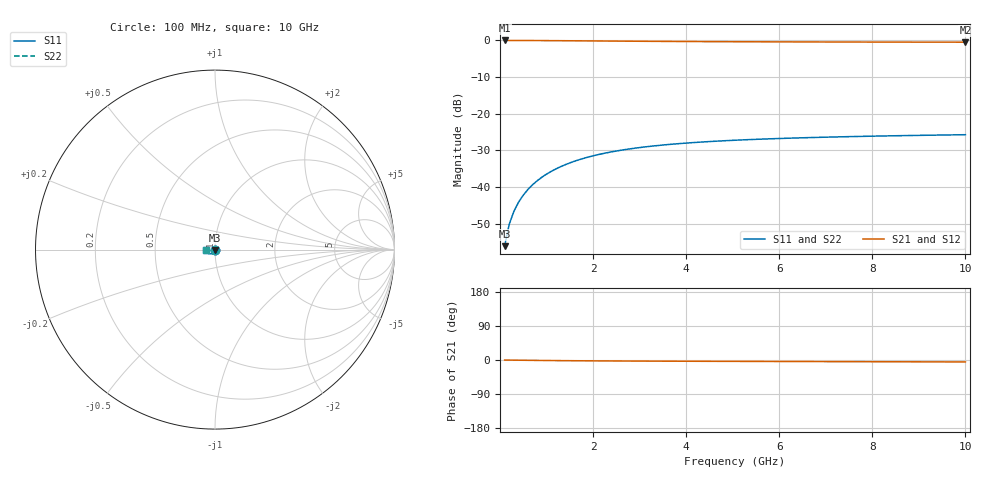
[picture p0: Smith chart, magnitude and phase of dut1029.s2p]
! Touchstone file exported from HFSS 2024.1.0
!  File:  C:/UserFiles/LocalFiles/RDL_TSV_Batchsim/temp_TSV1_1029_1780060558.aedt
!  Generated:  09:21:26 PM May 29, 2026
!  Design:  TSV1
!  Project:  temp_TSV1_1029_1780060558
!  Setup:  Setup1
!  Solution:  Sweep
! Variables:
!  dtsv = 13.22um
!  hbump = 3um
!  htsv = 78.4um
!  lrdl = 252.1521522um
!  p = 40
!  p1 = 56.56um
!  t = 500um
!  trdl = 3um
!  wrdl = 24.89489489um
# GHz S MA R 50.000000
! Terminal data exported
! Port[1] = TSV22_T1
! Port[2] = TSV22_T2
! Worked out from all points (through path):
!   100 points, 100 MHz to 10 GHz, reference 50 ohm
!   highest |S21| = 0.00 dB at 100 MHz (marker M1); lowest = -0.5 dB at 10 GHz (marker M2)
!   lowest |S11| = -56.2 dB at 100 MHz (marker M3), VSWR 1.00, Z = 50 - j0.156 ohm
!   |S11| at or under -10 dB: start of sweep to end of sweep
!   |S22| runs from -56.2 to -25.7 dB; largest |S21 - S12| = 1e-14
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0.1  0.001557 -88.8  0.9999 -0.1  0.9999 -0.1  0.001557 -88.8
! Gamma 0 0 0 0
! Port Impedance 50 0 50 0
0.2  0.00311 -92.1  0.9997 -0.3  0.9997 -0.3  0.00311 -92.1
0.3  0.004661 -94.5  0.9994 -0.4  0.9994 -0.4  0.004661 -94.5
0.4  0.006202 -96.6  0.999 -0.6  0.999 -0.6  0.006202 -96.6
0.5  0.007728 -98.7  0.9986 -0.7  0.9986 -0.7  0.007728 -98.7
0.6  0.009234 -100.7  0.998 -0.8  0.998 -0.8  0.009234 -100.7
0.7  0.01071 -102.6  0.9974 -0.9  0.9974 -0.9  0.01071 -102.6
0.8  0.01216 -104.5  0.9967 -1.1  0.9967 -1.1  0.01216 -104.5
0.9  0.01358 -106.4  0.9959 -1.2  0.9959 -1.2  0.01358 -106.4
1.1  0.01631 -110.0  0.9942 -1.4  0.9942 -1.4  0.01631 -110.0
1.4  0.02012 -115.2  0.9913 -1.7  0.9913 -1.7  0.02012 -115.2
1.6  0.02245 -118.4  0.9892 -1.9  0.9892 -1.9  0.02245 -118.4
1.8  0.02461 -121.5  0.987 -2.1  0.987 -2.1  0.02461 -121.5
2.1  0.02756 -125.8  0.9838 -2.3  0.9838 -2.3  0.02756 -125.8
2.5  0.03097 -131.0  0.9797 -2.6  0.9797 -2.6  0.03097 -131.0
2.9  0.03385 -135.6  0.9758 -2.8  0.9758 -2.8  0.03385 -135.6
3.4  0.03685 -140.8  0.9715 -3.0  0.9715 -3.0  0.03685 -140.8
4.2  0.04055 -147.8  0.9657 -3.4  0.9657 -3.4  0.04055 -147.8
5.1  0.04361 -154.3  0.9606 -3.6  0.9606 -3.6  0.04361 -154.3
6.7  0.04731 -163.4  0.9543 -4.1  0.9543 -4.1  0.04731 -163.4
8.4  0.04991 -171.0  0.95 -4.6  0.95 -4.6  0.04991 -171.0
10  0.0517 -176.9  0.9472 -5.1  0.9472 -5.1  0.0517 -176.9
